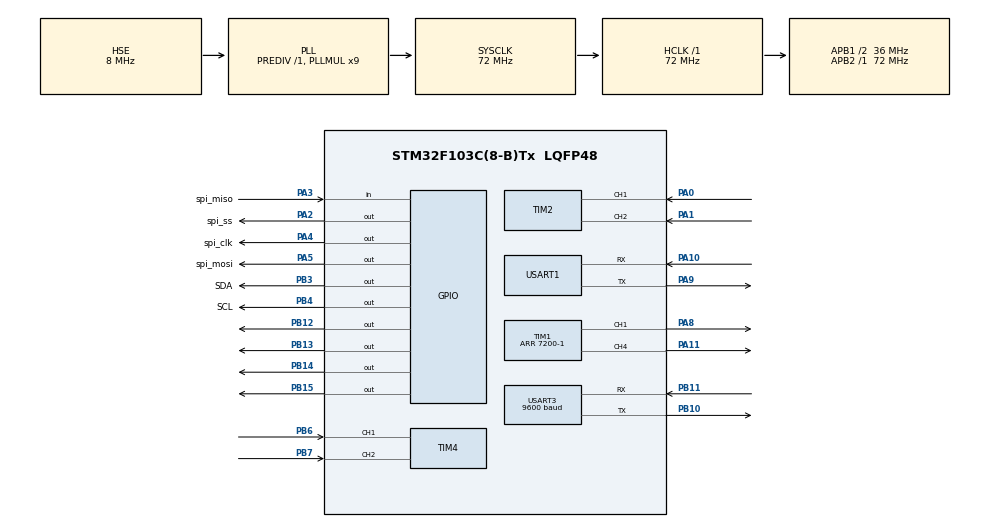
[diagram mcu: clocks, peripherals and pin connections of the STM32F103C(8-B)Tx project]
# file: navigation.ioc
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Dma.Request0=USART3_RX
Dma.USART3_RX.0.Direction=DMA_PERIPH_TO_MEMORY
Dma.USART3_RX.0.Instance=DMA1_Channel3
Dma.USART3_RX.0.MemDataAlignment=DMA_MDATAALIGN_BYTE
Dma.USART3_RX.0.MemInc=DMA_MINC_ENABLE
Dma.USART3_RX.0.Mode=DMA_NORMAL
Dma.USART3_RX.0.PeriphDataAlignment=DMA_PDATAALIGN_BYTE
Dma.USART3_RX.0.PeriphInc=DMA_PINC_DISABLE
Dma.USART3_RX.0.Priority=DMA_PRIORITY_LOW
Mcu.Family=STM32F1
Mcu.Name=STM32F103C(8-B)Tx
Mcu.Package=LQFP48
NVIC.DMA1_Channel3_IRQn=true\:3\:0\:true\:false\:true\:false\:true\:true
NVIC.PriorityGroup=NVIC_PRIORITYGROUP_4
NVIC.TIM3_IRQn=true\:1\:0\:true\:false\:true\:false\:true\:true
NVIC.TimeBase=TIM3_IRQn
NVIC.TimeBaseIP=TIM3
NVIC.USART3_IRQn=true\:2\:0\:true\:false\:true\:true\:true\:true
PA0-WKUP.Signal=S_TIM2_CH1_ETR
PA1.Signal=S_TIM2_CH2
PA10.Mode=Asynchronous
PA10.Signal=USART1_RX
PA11.Signal=S_TIM1_CH4
PA13.Mode=Serial_Wire
PA13.Signal=SYS_JTMS-SWDIO
PA14.Mode=Serial_Wire
PA14.Signal=SYS_JTCK-SWCLK
PA2.GPIO_Label=spi_ss
PA2.GPIO_ModeDefaultOutputPP=GPIO_MODE_OUTPUT_PP
PA2.GPIO_PuPd=GPIO_PULLUP
PA2.GPIO_Speed=GPIO_SPEED_FREQ_HIGH
PA2.PinState=GPIO_PIN_SET
PA2.Signal=GPIO_Output
PA3.GPIO_Label=spi_miso
PA3.Signal=GPIO_Input
PA4.GPIO_Label=spi_clk
PA4.GPIO_PuPd=GPIO_PULLDOWN
PA4.GPIO_Speed=GPIO_SPEED_FREQ_HIGH
PA4.PinState=GPIO_PIN_RESET
PA4.Signal=GPIO_Output
PA5.GPIO_Label=spi_mosi
PA5.GPIO_PuPd=GPIO_PULLUP
PA5.GPIO_Speed=GPIO_SPEED_FREQ_HIGH
PA5.PinState=GPIO_PIN_RESET
PA5.Signal=GPIO_Output
PA8.Signal=S_TIM1_CH1
PA9.Mode=Asynchronous
PA9.Signal=USART1_TX
PB10.Mode=Asynchronous
PB10.Signal=USART3_TX
PB11.Mode=Asynchronous
PB11.Signal=USART3_RX
PB12.GPIO_ModeDefaultOutputPP=GPIO_MODE_OUTPUT_PP
PB12.GPIO_PuPd=GPIO_NOPULL
PB12.GPIO_Speed=GPIO_SPEED_FREQ_LOW
PB12.PinState=GPIO_PIN_RESET
PB12.Signal=GPIO_Output
PB13.GPIO_ModeDefaultOutputPP=GPIO_MODE_OUTPUT_PP
PB13.GPIO_PuPd=GPIO_NOPULL
PB13.GPIO_Speed=GPIO_SPEED_FREQ_LOW
PB13.PinState=GPIO_PIN_RESET
PB13.Signal=GPIO_Output
PB14.GPIO_ModeDefaultOutputPP=GPIO_MODE_OUTPUT_PP
PB14.GPIO_PuPd=GPIO_NOPULL
PB14.GPIO_Speed=GPIO_SPEED_FREQ_LOW
PB14.PinState=GPIO_PIN_RESET
PB14.Signal=GPIO_Output
PB15.GPIO_ModeDefaultOutputPP=GPIO_MODE_OUTPUT_PP
PB15.GPIO_PuPd=GPIO_NOPULL
PB15.GPIO_Speed=GPIO_SPEED_FREQ_LOW
PB15.PinState=GPIO_PIN_RESET
PB15.Signal=GPIO_Output
PB3.GPIO_Label=SDA
PB3.GPIO_ModeDefaultOutputPP=GPIO_MODE_OUTPUT_OD
PB3.GPIO_PuPd=GPIO_NOPULL
PB3.GPIO_Speed=GPIO_SPEED_FREQ_HIGH
PB3.PinState=GPIO_PIN_SET
PB3.Signal=GPIO_Output
PB4.GPIO_Label=SCL
PB4.GPIO_ModeDefaultOutputPP=GPIO_MODE_OUTPUT_OD
PB4.GPIO_PuPd=GPIO_NOPULL
PB4.GPIO_Speed=GPIO_SPEED_FREQ_HIGH
PB4.PinState=GPIO_PIN_SET
PB4.Signal=GPIO_Output
PB6.Signal=S_TIM4_CH1
PB7.Signal=S_TIM4_CH2
PD0-OSC_IN.Mode=HSE-External-Oscillator
PD0-OSC_IN.Signal=RCC_OSC_IN
PD1-OSC_OUT.Mode=HSE-External-Oscillator
PD1-OSC_OUT.Signal=RCC_OSC_OUT
ProjectManager.HeapSize=0x125
ProjectManager.StackSize=0x100
ProjectManager.TargetToolchain=MDK-ARM V5
RCC.AHBFreq_Value=72000000
RCC.APB1CLKDivider=RCC_HCLK_DIV2
RCC.APB1Freq_Value=36000000
RCC.APB1TimFreq_Value=72000000
RCC.APB2Freq_Value=72000000
RCC.APB2TimFreq_Value=72000000
RCC.HCLKFreq_Value=72000000
RCC.PLLMUL=RCC_PLL_MUL9
RCC.PLLSourceVirtual=RCC_PLLSOURCE_HSE
RCC.SYSCLKFreq_VALUE=72000000
RCC.SYSCLKSource=RCC_SYSCLKSOURCE_PLLCLK
RCC.USBFreq_Value=72000000
SH.S_TIM1_CH1.0=TIM1_CH1,PWM Generation1 CH1
SH.S_TIM1_CH4.0=TIM1_CH4,PWM Generation4 CH4
SH.S_TIM2_CH1_ETR.0=TIM2_CH1,Encoder_Interface
SH.S_TIM2_CH2.0=TIM2_CH2,Encoder_Interface
SH.S_TIM4_CH1.0=TIM4_CH1,Encoder_Interface
SH.S_TIM4_CH2.0=TIM4_CH2,Encoder_Interface
TIM1.Channel-PWM\ Generation1\ CH1=TIM_CHANNEL_1
TIM1.Channel-PWM\ Generation4\ CH4=TIM_CHANNEL_4
TIM1.Period=7200-1
TIM4.EncoderMode=TIM_ENCODERMODE_TI12
TIM4.IC1Filter=10
TIM4.IC2Filter=10
USART1.VirtualMode=VM_ASYNC
USART3.BaudRate=9600
USART3.VirtualMode=VM_ASYNC
VP_SYS_VS_tim3.Mode=TIM3
VP_TIM1_VS_ClockSourceINT.Mode=Internal
board=custom

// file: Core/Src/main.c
/* USER CODE BEGIN Header */
/**
  ******************************************************************************
  * @file           : main.c
  * @brief          : Main program body
  ******************************************************************************
  * @attention
  *
  * Copyright (c) 2025 STMicroelectronics.
  * All rights reserved.
  *
  * This software is licensed under terms that can be found in the LICENSE file
  * in the root directory of this software component.
  * If no LICENSE file comes with this software, it is provided AS-IS.
  *
  ******************************************************************************
  */
/* USER CODE END Header */
#include "main.h"
#include "dma.h"
#include "tim.h"
#include "usart.h"
#include "gpio.h"

/* USER CODE BEGIN Includes */
#include "Delay.h"
#include "MPU9520.h"
#include "Blueteeth.h"
#include "Car.h"
#include "W25Q64.h"

/* USER CODE END Includes */

void SystemClock_Config(void);

int main(void)
{

  /* MCU Configuration--------------------------------------------------------*/

  /* Reset of all peripherals, Initializes the Flash interface and the Systick. */
  HAL_Init();

  /* Configure the system clock */
  SystemClock_Config();

  /* Initialize all configured peripherals */
  MX_GPIO_Init();
  MX_DMA_Init();
  MX_TIM1_Init();
  MX_TIM2_Init();
  MX_TIM4_Init();
  MX_USART1_UART_Init();
  MX_USART3_UART_Init();
  /* USER CODE BEGIN 2 */
    HAL_TIM_PWM_Start(&htim1, TIM_CHANNEL_1);
    HAL_TIM_PWM_Start(&htim1, TIM_CHANNEL_4);
    HAL_TIM_Encoder_Start(&htim2, TIM_CHANNEL_1);
    HAL_TIM_Encoder_Start(&htim2, TIM_CHANNEL_2);
    HAL_TIM_Encoder_Start(&htim4, TIM_CHANNEL_1);
    HAL_TIM_Encoder_Start(&htim4, TIM_CHANNEL_2);
    __HAL_UART_ENABLE_IT(&huart3, UART_IT_IDLE);
    __HAL_UART_CLEAR_IDLEFLAG(&huart3);
    rxpin_init();
    MPU9520_Init();
    MPU9520_Caliberation();
    Mag_Bias_Read();
    Car_Init();
  /* USER CODE END 2 */

  /* Infinite loop */
  while (1)
  {

  }
}

void SystemClock_Config(void)
{
  RCC_OscInitTypeDef RCC_OscInitStruct = {0};
  RCC_ClkInitTypeDef RCC_ClkInitStruct = {0};

  /** Initializes the RCC Oscillators according to the specified parameters
  * in the RCC_OscInitTypeDef structure.
  */
  RCC_OscInitStruct.OscillatorType = RCC_OSCILLATORTYPE_HSE;
  RCC_OscInitStruct.HSEState = RCC_HSE_ON;
  RCC_OscInitStruct.HSEPredivValue = RCC_HSE_PREDIV_DIV1;
  RCC_OscInitStruct.HSIState = RCC_HSI_ON;
  RCC_OscInitStruct.PLL.PLLState = RCC_PLL_ON;
  RCC_OscInitStruct.PLL.PLLSource = RCC_PLLSOURCE_HSE;
  RCC_OscInitStruct.PLL.PLLMUL = RCC_PLL_MUL9;
  if (HAL_RCC_OscConfig(&RCC_OscInitStruct) != HAL_OK)
  {
    Error_Handler();
  }

  /** Initializes the CPU, AHB and APB buses clocks
  */
  RCC_ClkInitStruct.ClockType = RCC_CLOCKTYPE_HCLK|RCC_CLOCKTYPE_SYSCLK
                              |RCC_CLOCKTYPE_PCLK1|RCC_CLOCKTYPE_PCLK2;
  RCC_ClkInitStruct.SYSCLKSource = RCC_SYSCLKSOURCE_PLLCLK;
  RCC_ClkInitStruct.AHBCLKDivider = RCC_SYSCLK_DIV1;
  RCC_ClkInitStruct.APB1CLKDivider = RCC_HCLK_DIV2;
  RCC_ClkInitStruct.APB2CLKDivider = RCC_HCLK_DIV1;

  if (HAL_RCC_ClockConfig(&RCC_ClkInitStruct, FLASH_LATENCY_2) != HAL_OK)
  {
    Error_Handler();
  }
}

void HAL_TIM_PeriodElapsedCallback(TIM_HandleTypeDef *htim)
{
  if (htim->Instance == TIM3) {
    HAL_IncTick();
  }
}

void Error_Handler(void)
{
  __disable_irq();
  while (1)
  {
  }
}
